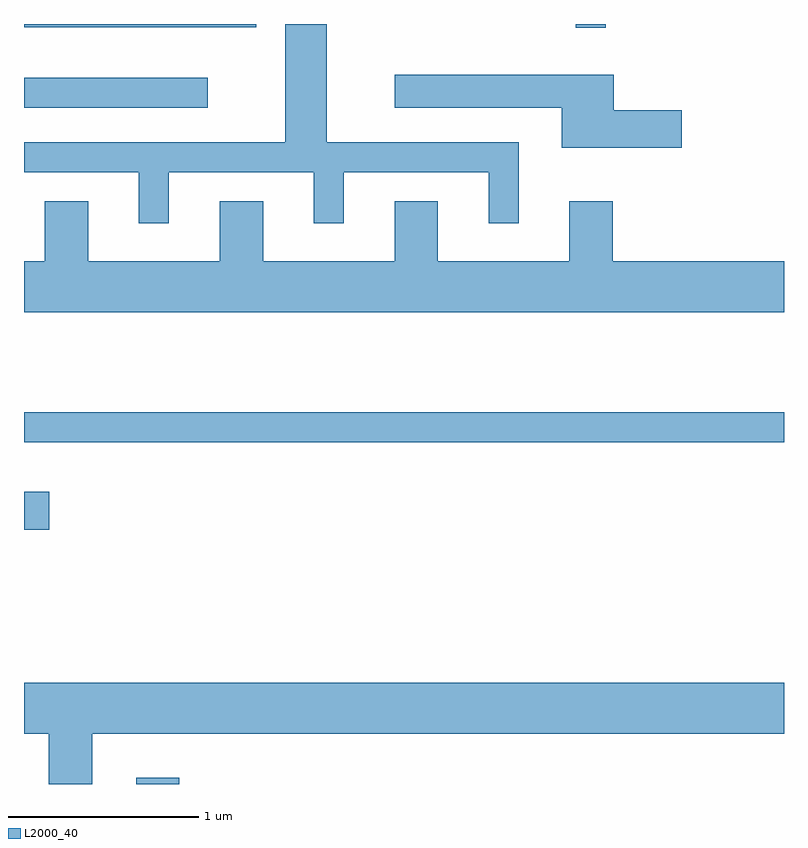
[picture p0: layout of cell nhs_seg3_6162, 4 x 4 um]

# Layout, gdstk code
import gdstk
lib = gdstk.Library(unit=1e-6, precision=1e-09)
def R(c, l, rs):  # rectangles x0, y0, x1, y1
    for r in rs: c.add(gdstk.rectangle(r[:2], r[2:], *l))
def P(c, l, *ps):  # polygons
    for p in ps: c.add(gdstk.Polygon(p, *l))
L2000_40 = (2000, 40)

nhs_seg3_6162 = lib.new_cell('nhs_seg3_6162')
R(nhs_seg3_6162, L2000_40, [(366.201,1207.892,366.429,1207.924), (365.611,1209.231,365.744,1209.429), (365.611,1209.691,369.611,1209.849), (365.611,1211.451,366.578,1211.609), (368.516,1211.873,368.674,1211.892), (365.611,1211.876,366.834,1211.892)])
P(nhs_seg3_6162, L2000_40, [(366.374,1211.111),(367.136,1211.111),(367.136,1210.843),(367.294,1210.843),(367.294,1211.111),(368.056,1211.111),(368.056,1210.843),(368.214,1210.843),(368.214,1211.269),(367.204,1211.269),(367.204,1211.892),(366.986,1211.892),(366.986,1211.269),(365.611,1211.269),(365.611,1211.111),(366.216,1211.111),(366.216,1210.843),(366.374,1210.843)],
  [(369.074,1211.439),(368.714,1211.439),(368.714,1211.624),(367.561,1211.624),(367.561,1211.451),(368.441,1211.451),(368.441,1211.241),(369.074,1211.241)],
  [(369.611,1210.644),(368.709,1210.644),(368.709,1210.959),(368.481,1210.959),(368.481,1210.644),(367.789,1210.644),(367.789,1210.959),(367.561,1210.959),(367.561,1210.644),(366.869,1210.644),(366.869,1210.959),(366.641,1210.959),(366.641,1210.644),(365.949,1210.644),(365.949,1210.959),(365.721,1210.959),(365.721,1210.644),(365.611,1210.644),(365.611,1210.376),(369.611,1210.376)],
  [(365.969,1208.156),(369.611,1208.156),(369.611,1208.424),(365.611,1208.424),(365.611,1208.156),(365.741,1208.156),(365.741,1207.892),(365.969,1207.892)])

lib.write_gds('nhs_seg3_6162.gds')
